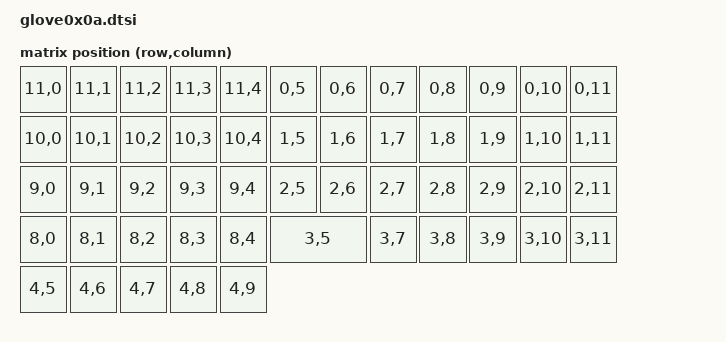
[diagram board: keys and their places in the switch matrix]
#include <dt-bindings/zmk/keys.h>
#include <dt-bindings/zmk/matrix_transform.h>
#include <physical_layouts.dtsi>
#include <dt-bindings/zmk/bt.h>
#include <dt-bindings/led/led.h>
#include <input/processors.dtsi>
#include <zephyr/dt-bindings/input/input-event-codes.h>

/ {
    chosen {
        zmk,physical-layout = &glove0x0a_physical_layout;
    };

    default_transform: matrix_transform {
        compatible = "zmk,matrix-transform";
        rows = <4>;
        columns = <12>;
        map = <
            RC(11, 0) RC(11, 1) RC(11, 2) RC(11, 3) RC(11, 4) RC(0, 5) RC(0, 6) RC(0, 7) RC(0, 8) RC(0, 9) RC(0,10) RC(0,11)
            RC(10, 0) RC(10, 1) RC(10, 2) RC(10, 3) RC(10, 4) RC(1, 5) RC(1, 6) RC(1, 7) RC(1, 8) RC(1, 9) RC(1,10) RC(1,11)
            RC( 9, 0) RC( 9, 1) RC( 9, 2) RC( 9, 3) RC( 9, 4) RC(2, 5) RC(2, 6) RC(2, 7) RC(2, 8) RC(2, 9) RC(2,10) RC(2,11)
            RC( 8, 0) RC( 8, 1) RC( 8, 2) RC( 8, 3) RC( 8, 4) RC(3, 5)          RC(3, 7) RC(3, 8) RC(3, 9) RC(3,10) RC(3,11)
                                                              RC(4, 5) RC(4, 6) RC(4, 7) RC(4, 8) RC(4, 9)
        >;
    };

    kscan0: kscan {
        compatible = "zmk,kscan-gpio-charlieplex";
        interrupt-gpios = <&gpio1  3 (GPIO_ACTIVE_HIGH | GPIO_PULL_DOWN) >;
        wakeup-source;
        gpios
          = <&gpio1  5  GPIO_ACTIVE_HIGH>
          , <&gpio1 14  GPIO_ACTIVE_HIGH>
          , <&gpio1  7  GPIO_ACTIVE_HIGH>
          , <&gpio1 15  GPIO_ACTIVE_HIGH>
          , <&gpio0  9  GPIO_ACTIVE_HIGH>
          , <&gpio0 29  GPIO_ACTIVE_HIGH>
          , <&gpio1  1  GPIO_ACTIVE_HIGH>
          , <&gpio0 28  GPIO_ACTIVE_HIGH>
          , <&gpio0 19  GPIO_ACTIVE_HIGH>
          , <&gpio0  3  GPIO_ACTIVE_HIGH>
          , <&gpio0 15  GPIO_ACTIVE_HIGH>
          , <&gpio0  2  GPIO_ACTIVE_HIGH>
        ;

    };

    glove0x0a_physical_layout: glove0x0a_physical_layout {
        compatible = "zmk,physical-layout";
        display-name = "Default";
        transform = <&default_transform>;
        kscan = <&kscan0>;

        keys  //                     w   h    x    y     rot    rx    ry
            = <&key_physical_attrs 100 100    0    0       0     0     0>
            , <&key_physical_attrs 100 100  100    0       0     0     0>
            , <&key_physical_attrs 100 100  200    0       0     0     0>
            , <&key_physical_attrs 100 100  300    0       0     0     0>
            , <&key_physical_attrs 100 100  400    0       0     0     0>
            , <&key_physical_attrs 100 100  500    0       0     0     0>
            , <&key_physical_attrs 100 100  600    0       0     0     0>
            , <&key_physical_attrs 100 100  700    0       0     0     0>
            , <&key_physical_attrs 100 100  800    0       0     0     0>
            , <&key_physical_attrs 100 100  900    0       0     0     0>
            , <&key_physical_attrs 100 100 1000    0       0     0     0>
            , <&key_physical_attrs 100 100 1100    0       0     0     0>
            , <&key_physical_attrs 100 100    0  100       0     0     0>
            , <&key_physical_attrs 100 100  100  100       0     0     0>
            , <&key_physical_attrs 100 100  200  100       0     0     0>
            , <&key_physical_attrs 100 100  300  100       0     0     0>
            , <&key_physical_attrs 100 100  400  100       0     0     0>
            , <&key_physical_attrs 100 100  500  100       0     0     0>
            , <&key_physical_attrs 100 100  600  100       0     0     0>
            , <&key_physical_attrs 100 100  700  100       0     0     0>
            , <&key_physical_attrs 100 100  800  100       0     0     0>
            , <&key_physical_attrs 100 100  900  100       0     0     0>
            , <&key_physical_attrs 100 100 1000  100       0     0     0>
            , <&key_physical_attrs 100 100 1100  100       0     0     0>
            , <&key_physical_attrs 100 100    0  200       0     0     0>
            , <&key_physical_attrs 100 100  100  200       0     0     0>
            , <&key_physical_attrs 100 100  200  200       0     0     0>
            , <&key_physical_attrs 100 100  300  200       0     0     0>
            , <&key_physical_attrs 100 100  400  200       0     0     0>
            , <&key_physical_attrs 100 100  500  200       0     0     0>
            , <&key_physical_attrs 100 100  600  200       0     0     0>
            , <&key_physical_attrs 100 100  700  200       0     0     0>
            , <&key_physical_attrs 100 100  800  200       0     0     0>
            , <&key_physical_attrs 100 100  900  200       0     0     0>
            , <&key_physical_attrs 100 100 1000  200       0     0     0>
            , <&key_physical_attrs 100 100 1100  200       0     0     0>
            , <&key_physical_attrs 100 100    0  300       0     0     0>
            , <&key_physical_attrs 100 100  100  300       0     0     0>
            , <&key_physical_attrs 100 100  200  300       0     0     0>
            , <&key_physical_attrs 100 100  300  300       0     0     0>
            , <&key_physical_attrs 100 100  400  300       0     0     0>
            , <&key_physical_attrs 200 100  500  300       0     0     0>
            , <&key_physical_attrs 100 100  700  300       0     0     0>
            , <&key_physical_attrs 100 100  800  300       0     0     0>
            , <&key_physical_attrs 100 100  900  300       0     0     0>
            , <&key_physical_attrs 100 100 1000  300       0     0     0>
            , <&key_physical_attrs 100 100 1100  300       0     0     0>
            , <&key_physical_attrs 100 100    0  400       0     0     0>
            , <&key_physical_attrs 100 100  100  400       0     0     0>
            , <&key_physical_attrs 100 100  200  400       0     0     0>
            , <&key_physical_attrs 100 100  300  400       0     0     0>
            , <&key_physical_attrs 100 100  400  400       0     0     0>;
    };
};

&xiao_i2c {
    status = "disabled";
};

&msc {
    x-input-code = <INPUT_REL_HWHEEL>;
    y-input-code = <INPUT_REL_WHEEL>;
    time-to-max-speed-ms = <0>;
    acceleration-exponent = <0>;
};

